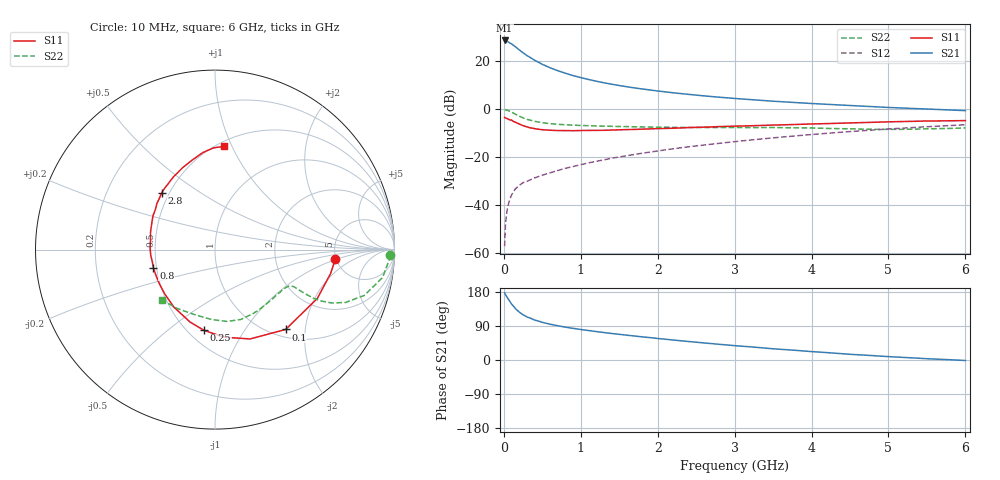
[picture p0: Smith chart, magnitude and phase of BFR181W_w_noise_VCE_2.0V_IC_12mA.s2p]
! Infineon Technologies  Discrete & RF Semiconductors
! BFR181W
! VCE =  2.0 V,  IC =  12 mA
! Common Emitter S-Parameters:  Jan 2017
# GHz  S  MA  R  50
!  f  S11  S21  S12  S22
! GHz  MAG  ANG  MAG  ANG  MAG  ANG  MAG  ANG
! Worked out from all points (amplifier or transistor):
!   77 points, 10 MHz to 6 GHz, reference 50 ohm
!   highest |S21| = 28.6 dB at 10 MHz (marker M1)
!   |S21| within 3 dB of that: start of sweep to 164.5 MHz
!   unconditionally stable (mu >= 1): 686.2 MHz to 2.742 GHz
!   at 130 MHz: K = 0.35, MSG = 30.3 dB, |S12| = -34.2 dB
!   at 2.2 GHz: K = 1.06, MAG = 10.1 dB, |S12| = -16.5 dB
!   at 6 GHz: K = 0.85, MSG = 2.9 dB, |S12| = -6.5 dB
!   lowest NFmin = 1.34 dB at 450 MHz
!   S11 on the Smith chart (normalised r, x): 10 MHz: 4.93, -0.95; 100 MHz: 1.14, -1.57; 250 MHz: 0.60, -0.68; 800 MHz: 0.48, -0.11; 2.8 GHz: 0.46, +0.35; 6 GHz: 0.54, +0.94
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0.01  0.673 -4.5  26.99 177.3  0.0014 89.7  0.9768 -1.8
0.02  0.6576 -11.7  26.65 172.9  0.0037 95.0  0.9711 -3.6
0.05  0.6318 -25.5  25.63 162.9  0.0092 78.2  0.9462 -9.5
0.1  0.5939 -48.5  22.96 147.6  0.0162 71.8  0.8696 -17.1
0.15  0.5347 -68.6  19.96 135.8  0.0219 64.5  0.7859 -22.0
0.2  0.4906 -84.1  17.18 126.4  0.0258 61.6  0.7148 -24.6
0.25  0.4537 -97.8  14.95 119.3  0.0295 59.1  0.6587 -25.8
0.3  0.4272 -108.9  13.09 113.7  0.0313 58.3  0.6142 -26.3
0.4  0.3937 -125.7  10.45 105.4  0.0369 60.0  0.5577 -26.1
0.5  0.3734 -138.5  8.594 99.4  0.0421 60.6  0.5226 -25.7
0.6  0.364 -148.3  7.301 94.5  0.0472 62.3  0.4996 -25.4
0.7  0.3587 -156.9  6.332 90.4  0.0527 64.2  0.4843 -25.2
0.8  0.358 -163.7  5.601 86.7  0.0587 66.0  0.4731 -25.5
0.9  0.3557 -169.6  5.003 83.5  0.0638 66.6  0.4648 -25.9
1.1  0.3607 -179.5  4.154 77.8  0.076 68.7  0.4528 -27.3
1.5  0.3716 165.2  3.108 67.8  0.1009 70.1  0.4353 -31.7
2.1  0.3968 148.5  2.291 54.8  0.142 69.9  0.4201 -41.7
2.8  0.4338 133.2  1.775 41.4  0.1945 67.4  0.4153 -55.8
3.1  0.4463 127.2  1.628 36.3  0.2186 65.6  0.4136 -61.9
4.1  0.4959 109.7  1.287 20.9  0.305 58.1  0.4014 -82.7
5.1  0.5487 95.8  1.069 7.9  0.395 48.5  0.3797 -110.8
6  0.578 84.8  0.932 -1.3  0.4736 38.6  0.4069 -136.5
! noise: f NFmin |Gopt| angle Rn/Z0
0.45  1.34  0.1  16  0.21
0.9  1.38  0.1  32  0.21
1.9  1.82  0.07  -151  0.21
2.4  2.01  0.08  -113  0.26
